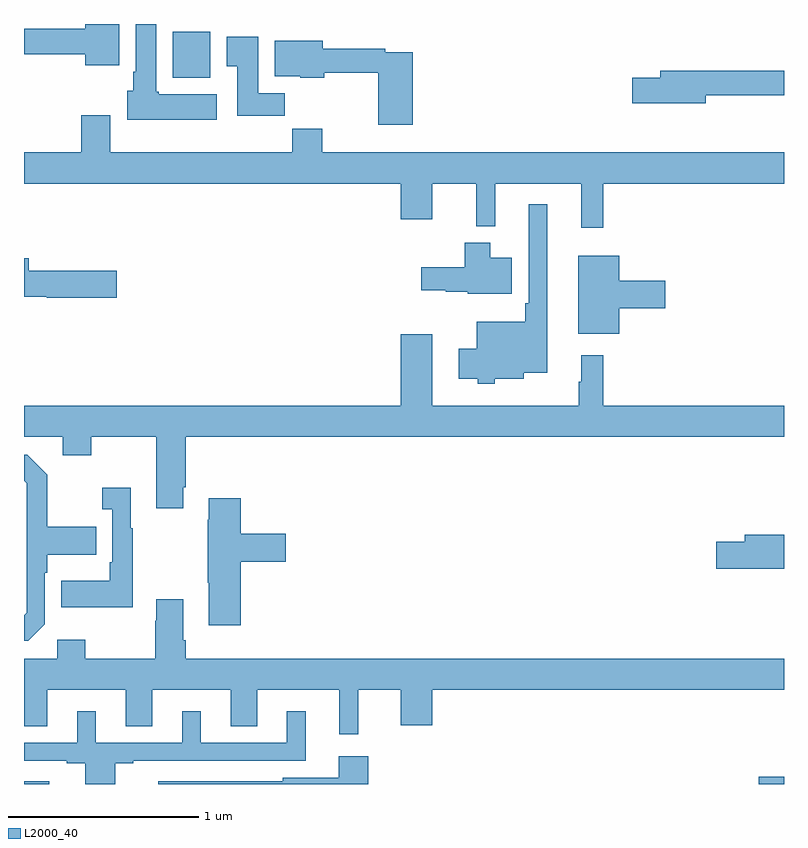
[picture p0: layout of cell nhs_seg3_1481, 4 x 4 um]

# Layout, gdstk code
import gdstk
lib = gdstk.Library(unit=1e-6, precision=1e-09)
def R(c, l, rs):  # rectangles x0, y0, x1, y1
    for r in rs: c.add(gdstk.rectangle(r[:2], r[2:], *l))
def P(c, l, *ps):  # polygons
    for p in ps: c.add(gdstk.Polygon(p, *l))
L2000_40 = (2000, 40)

nhs_seg3_1481 = lib.new_cell('nhs_seg3_1481')
R(nhs_seg3_1481, L2000_40, [(187,720.4,187.132,720.415), (190.866,720.4,191,720.438), (187.784,724.118,187.981,724.36)])
P(nhs_seg3_1481, L2000_40, [(188.014,724.03),(187.71,724.03),(187.71,724.044),(187.696,724.044),(187.696,724.4),(187.589,724.4),(187.589,724.15),(187.574,724.15),(187.574,724.05),(187.544,724.05),(187.544,723.896),(188.014,723.896)],
  [(187.501,724.4),(187.322,724.4),(187.322,724.376),(187,724.376),(187,724.24),(187.322,724.24),(187.322,724.184),(187.501,724.184)],
  [(188.372,724.036),(188.233,724.036),(188.233,724.333),(188.066,724.333),(188.066,724.177),(188.123,724.177),(188.123,723.918),(188.372,723.918)],
  [(189.047,724.251),(188.9,724.251),(188.9,724.271),(188.572,724.271),(188.572,724.312),(188.321,724.312),(188.321,724.124),(188.454,724.124),(188.454,724.118),(188.58,724.118),(188.58,724.143),(188.864,724.143),(188.864,723.87),(189.047,723.87)],
  [(190.588,724.026),(191,724.026),(191,724.154),(190.349,724.154),(190.349,724.118),(190.2,724.118),(190.2,723.983),(190.588,723.983)],
  [(190.049,723.56),(191,723.56),(191,723.724),(188.57,723.724),(188.57,723.848),(188.413,723.848),(188.413,723.724),(187.453,723.724),(187.453,723.919),(187.301,723.919),(187.301,723.724),(187,723.724),(187,723.56),(188.984,723.56),(188.984,723.372),(189.148,723.372),(189.148,723.56),(189.379,723.56),(189.379,723.335),(189.479,723.335),(189.479,723.56),(189.932,723.56),(189.932,723.327),(190.049,723.327)],
  [(189.477,722.534),(189.631,722.534),(189.631,722.564),(189.754,722.564),(189.754,723.451),(189.657,723.451),(189.657,722.929),(189.637,722.929),(189.637,722.833),(189.383,722.833),(189.383,722.692),(189.287,722.692),(189.287,722.534),(189.387,722.534),(189.387,722.507),(189.477,722.507)],
  [(189.568,723.169),(189.454,723.169),(189.454,723.25),(189.32,723.25),(189.32,723.121),(189.09,723.121),(189.09,722.999),(189.219,722.999),(189.219,722.992),(189.336,722.992),(189.336,722.981),(189.568,722.981)],
  [(190.132,722.903),(190.375,722.903),(190.375,723.05),(190.132,723.05),(190.132,723.181),(189.917,723.181),(189.917,722.771),(190.132,722.771)],
  [(187.489,723.102),(187.024,723.102),(187.024,723.166),(187,723.166),(187,722.965),(187.12,722.965),(187.12,722.96),(187.489,722.96)],
  [(187.837,721.963),(187.85,721.963),(187.85,722.228),(191,722.228),(191,722.392),(190.049,722.392),(190.049,722.656),(189.932,722.656),(189.932,722.516),(189.921,722.516),(189.921,722.392),(189.148,722.392),(189.148,722.767),(188.984,722.767),(188.984,722.392),(187,722.392),(187,722.228),(187.205,722.228),(187.205,722.129),(187.353,722.129),(187.353,722.228),(187.697,722.228),(187.697,721.851),(187.837,721.851)],
  [(187.11,721.242),(187.11,721.511),(187.123,721.511),(187.123,721.607),(187.379,721.607),(187.379,721.755),(187.123,721.755),(187.123,722.027),(187.017,722.133),(187,722.133),(187,721.997),(187.014,721.983),(187.014,721.302),(187,721.288),(187,721.155),(187.023,721.155)],
  [(187.573,721.747),(187.561,721.747),(187.561,721.96),(187.413,721.96),(187.413,721.847),(187.464,721.847),(187.464,721.567),(187.452,721.567),(187.452,721.471),(187.195,721.471),(187.195,721.331),(187.573,721.331)],
  [(188.141,721.571),(188.377,721.571),(188.377,721.718),(188.141,721.718),(188.141,721.903),(187.973,721.903),(187.973,721.79),(187.966,721.79),(187.966,721.459),(187.973,721.459),(187.973,721.236),(188.141,721.236)],
  [(191,721.712),(190.793,721.712),(190.793,721.676),(190.644,721.676),(190.644,721.534),(191,721.534)],
  [(188.76,720.896),(188.984,720.896),(188.984,720.708),(189.148,720.708),(189.148,720.896),(191,720.896),(191,721.06),(187.85,721.06),(187.85,721.156),(187.837,721.156),(187.837,721.372),(187.697,721.372),(187.697,721.259),(187.69,721.259),(187.69,721.06),(187.323,721.06),(187.323,721.159),(187.176,721.159),(187.176,721.06),(187,721.06),(187,720.703),(187.123,720.703),(187.123,720.896),(187.535,720.896),(187.535,720.703),(187.675,720.703),(187.675,720.896),(188.087,720.896),(188.087,720.703),(188.227,720.703),(188.227,720.896),(188.66,720.896),(188.66,720.663),(188.76,720.663)],
  [(187.48,720.51),(187.576,720.51),(187.576,720.522),(188.483,720.522),(188.483,720.784),(188.384,720.784),(188.384,720.618),(187.93,720.618),(187.93,720.784),(187.832,720.784),(187.832,720.618),(187.378,720.618),(187.378,720.784),(187.28,720.784),(187.28,720.618),(187,720.618),(187,720.522),(187.226,720.522),(187.226,720.51),(187.322,720.51),(187.322,720.4),(187.48,720.4)],
  [(188.813,720.547),(188.657,720.547),(188.657,720.433),(188.361,720.433),(188.361,720.414),(187.707,720.414),(187.707,720.4),(188.813,720.4)])

lib.write_gds('nhs_seg3_1481.gds')
